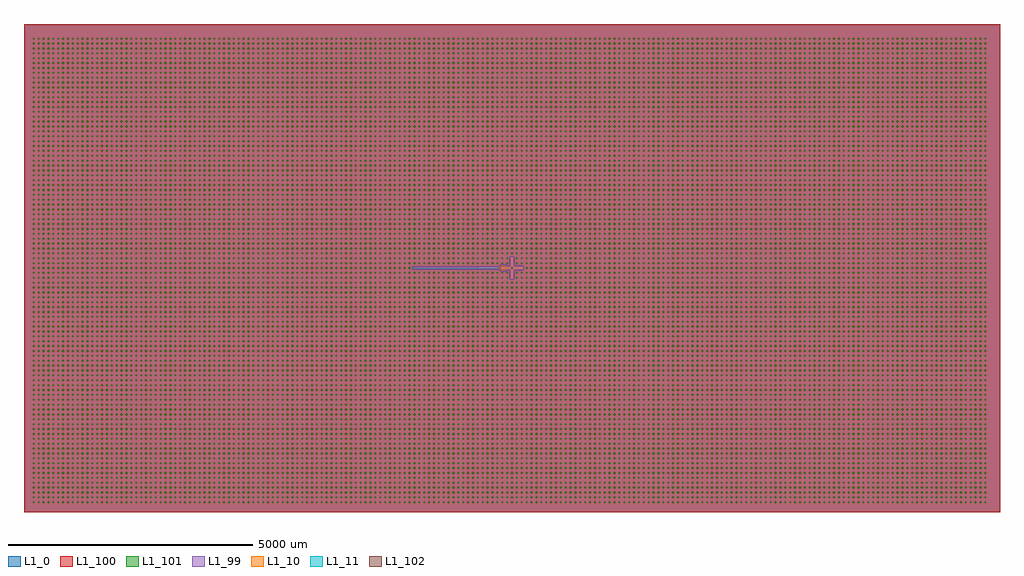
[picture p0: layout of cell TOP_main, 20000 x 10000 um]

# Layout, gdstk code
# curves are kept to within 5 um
import gdstk
lib = gdstk.Library(unit=1e-6, precision=1e-09)
def R(c, l, rs):  # rectangles x0, y0, x1, y1
    for r in rs: c.add(gdstk.rectangle(r[:2], r[2:], *l))
def A(c, l, x, y, w, h, nx, ny, dx, dy):  # array of equal rectangles
    R(c, l, [(x+i*dx, y+j*dy, x+i*dx+w, y+j*dy+h) for i in range(nx) for j in range(ny)])
def P(c, l, *ps):  # polygons
    for p in ps: c.add(gdstk.Polygon(p, *l))
L1_0 = (1, 0)
L1_10 = (1, 10)
L1_11 = (1, 11)
L1_99 = (1, 99)
L1_100 = (1, 100)
L1_101 = (1, 101)
L1_102 = (1, 102)

ground_main_1 = lib.new_cell('ground_main_1')
P(ground_main_1, L1_0, [(-131.749,-5000),(-131.749,-54.902),(-217.361,-53.042),(-237.361,-38.511),(-248,-10),(-2000,-0.151),(-2000,-13.2),(-2020,0),(-2000,13.2),(-2000,0.151),(-248,10),(-237.361,38.511),(-217.361,53.042),(-131.749,54.902),(-131.749,5000),(-10000,5000),(-10000,-5000)],
  [(-224.692,-13.911),(-222.275,-21.35),(-217.678,-27.678),(-211.35,-32.275),(-203.911,-34.692),(-131.749,-35.098),(-131.749,-30),(-196,-30),(-203.416,-28.825),(-210.107,-25.416),(-215.416,-20.107),(-218.825,-13.416),(-220,-6),(-220,6),(-218.825,13.416),(-217.384,16.896),(-212.971,22.971),(-206.896,27.384),(-199.754,29.705),(-196,30),(-131.749,30),(-131.749,35.098),(-200,35),(-203.911,34.692),(-211.35,32.275),(-217.678,27.678),(-222.275,21.35),(-223.776,17.725),(-225,10)],
  [(-30,196),(-22.971,212.971),(-9.754,219.705),(16.896,217.384),(28.825,203.416),(30,30),(199.754,29.705),(217.384,16.896),(220,-6),(212.971,-22.971),(199.754,-29.705),(30,-30),(29.705,-199.754),(22.971,-212.971),(6,-220),(-16.896,-217.384),(-29.705,-199.754),(-30,-30),(-131.749,-30),(-125,-43),(-131.749,-54.902),(-131.749,-5000),(10000,-5000),(10000,5000),(-131.749,5000),(-131.749,54.902),(-125,47),(-131.749,30),(-30,30)])

top_main_1_one_hole = lib.new_cell('TOP_main_1_one_hole')
P(top_main_1_one_hole, L1_102, [(12.5,-12.5),(12.5,12.5),(-12.5,12.5),(-12.5,-12.5),(12.5,-12.5)])

top_main_1_cheese_diff = lib.new_cell('TOP_main_1_Cheese_diff')
A(top_main_1_cheese_diff, L1_101, -9812.5, -4812.5, 25, 25, 196, 46, 100, 100)
A(top_main_1_cheese_diff, L1_101, -9812.5, -212.5, 25, 25, 98, 2, 100, 100)
A(top_main_1_cheese_diff, L1_101, 87.5, -212.5, 25, 25, 97, 2, 100, 100)
A(top_main_1_cheese_diff, L1_101, -9812.5, -12.5, 25, 25, 78, 1, 100, 0)
A(top_main_1_cheese_diff, L1_101, 287.5, -12.5, 25, 25, 95, 1, 100, 0)
A(top_main_1_cheese_diff, L1_101, -9812.5, 87.5, 25, 25, 98, 2, 100, 100)
A(top_main_1_cheese_diff, L1_101, 87.5, 87.5, 25, 25, 97, 2, 100, 100)
A(top_main_1_cheese_diff, L1_101, -9812.5, 287.5, 25, 25, 196, 45, 100, 100)

top_main_1_cheese_100 = lib.new_cell('TOP_main_1_Cheese_100')
A(top_main_1_cheese_100, L1_100, -9812.5, -5000, 25, 187.5, 195, 1, 100, 0)
A(top_main_1_cheese_100, L1_100, -9787.5, -5000, 75, 10000, 77, 1, 100, 0)
A(top_main_1_cheese_100, L1_100, 312.5, -5000, 75, 10000, 94, 1, 100, 0)
A(top_main_1_cheese_100, L1_100, -9812.5, -4787.5, 25, 75, 195, 45, 100, 100)
A(top_main_1_cheese_100, L1_100, -9812.5, -287.5, 25, 75, 98, 2, 100, 100)
A(top_main_1_cheese_100, L1_100, 87.5, -287.5, 25, 75, 96, 2, 100, 100)
A(top_main_1_cheese_100, L1_100, -9812.5, -87.5, 25, 75, 78, 2, 100, 100)
A(top_main_1_cheese_100, L1_100, 287.5, -87.5, 25, 75, 94, 2, 100, 100)
A(top_main_1_cheese_100, L1_100, -9812.5, 112.5, 25, 75, 98, 2, 100, 100)
A(top_main_1_cheese_100, L1_100, 87.5, 112.5, 25, 75, 96, 2, 100, 100)
A(top_main_1_cheese_100, L1_100, -9812.5, 312.5, 25, 75, 195, 44, 100, 100)
A(top_main_1_cheese_100, L1_100, -9812.5, 4712.5, 25, 287.5, 195, 1, 100, 0)
R(top_main_1_cheese_100, L1_100, [(-10000,-5000,-9812.5,5000), (112.5,-5000,187.5,-30), (-112.5,-87.5,-87.5,-30), (87.5,-87.5,112.5,-30), (-112.5,30,-87.5,87.5), (87.5,30,112.5,87.5), (112.5,30,187.5,5000)])
P(top_main_1_cheese_100, L1_100, [(-2012.5,-5000),(-2012.5,-4.95),(-2020,0),(-2012.5,4.95),(-2012.5,5000),(-2087.5,5000),(-2087.5,-5000)],
  [(-1987.5,-0.245),(-2000,-0.151),(-2000,-13.2),(-2012.5,-4.95),(-2012.5,-87.5),(-1987.5,-87.5)],
  [(-2000,13.2),(-2000,0.151),(-1987.5,0.245),(-1987.5,87.5),(-2012.5,87.5),(-2012.5,4.95)],
  [(-1912.5,0.811),(-1912.5,5000),(-1987.5,5000),(-1987.5,0.245)],
  [(-1912.5,-5000),(-1912.5,-0.811),(-1987.5,-0.245),(-1987.5,-5000)],
  [(-1887.5,-0.999),(-1912.5,-0.811),(-1912.5,-87.5),(-1887.5,-87.5)],
  [(-1887.5,0.999),(-1887.5,87.5),(-1912.5,87.5),(-1912.5,0.811)],
  [(-1812.5,1.565),(-1812.5,5000),(-1887.5,5000),(-1887.5,0.999)],
  [(-1812.5,-5000),(-1812.5,-1.565),(-1887.5,-0.999),(-1887.5,-5000)],
  [(-1787.5,-1.754),(-1812.5,-1.565),(-1812.5,-87.5),(-1787.5,-87.5)],
  [(-1787.5,1.754),(-1787.5,87.5),(-1812.5,87.5),(-1812.5,1.565)],
  [(-1712.5,2.319),(-1712.5,5000),(-1787.5,5000),(-1787.5,1.754)],
  [(-1712.5,-5000),(-1712.5,-2.319),(-1787.5,-1.754),(-1787.5,-5000)],
  [(-1687.5,-2.508),(-1712.5,-2.319),(-1712.5,-87.5),(-1687.5,-87.5)],
  [(-1687.5,2.508),(-1687.5,87.5),(-1712.5,87.5),(-1712.5,2.319)],
  [(-1612.5,3.074),(-1612.5,5000),(-1687.5,5000),(-1687.5,2.508)],
  [(-1612.5,-5000),(-1612.5,-3.074),(-1687.5,-2.508),(-1687.5,-5000)],
  [(-1587.5,-3.262),(-1612.5,-3.074),(-1612.5,-87.5),(-1587.5,-87.5)],
  [(-1587.5,3.262),(-1587.5,87.5),(-1612.5,87.5),(-1612.5,3.074)],
  [(-1512.5,3.828),(-1512.5,5000),(-1587.5,5000),(-1587.5,3.262)],
  [(-1512.5,-5000),(-1512.5,-3.828),(-1587.5,-3.262),(-1587.5,-5000)],
  [(-1487.5,-4.017),(-1512.5,-3.828),(-1512.5,-87.5),(-1487.5,-87.5)],
  [(-1487.5,4.017),(-1487.5,87.5),(-1512.5,87.5),(-1512.5,3.828)],
  [(-1412.5,4.582),(-1412.5,5000),(-1487.5,5000),(-1487.5,4.017)],
  [(-1412.5,-5000),(-1412.5,-4.582),(-1487.5,-4.017),(-1487.5,-5000)],
  [(-1387.5,-4.771),(-1412.5,-4.582),(-1412.5,-87.5),(-1387.5,-87.5)],
  [(-1387.5,4.771),(-1387.5,87.5),(-1412.5,87.5),(-1412.5,4.582)],
  [(-1312.5,5.337),(-1312.5,5000),(-1387.5,5000),(-1387.5,4.771)],
  [(-1312.5,-5000),(-1312.5,-5.337),(-1387.5,-4.771),(-1387.5,-5000)],
  [(-1287.5,-5.525),(-1312.5,-5.337),(-1312.5,-87.5),(-1287.5,-87.5)],
  [(-1287.5,5.525),(-1287.5,87.5),(-1312.5,87.5),(-1312.5,5.337)],
  [(-1212.5,6.091),(-1212.5,5000),(-1287.5,5000),(-1287.5,5.525)],
  [(-1212.5,-5000),(-1212.5,-6.091),(-1287.5,-5.525),(-1287.5,-5000)],
  [(-1187.5,-6.279),(-1212.5,-6.091),(-1212.5,-87.5),(-1187.5,-87.5)],
  [(-1187.5,6.279),(-1187.5,87.5),(-1212.5,87.5),(-1212.5,6.091)],
  [(-1112.5,6.845),(-1112.5,5000),(-1187.5,5000),(-1187.5,6.279)],
  [(-1112.5,-5000),(-1112.5,-6.845),(-1187.5,-6.279),(-1187.5,-5000)],
  [(-1087.5,-7.034),(-1112.5,-6.845),(-1112.5,-87.5),(-1087.5,-87.5)],
  [(-1087.5,7.034),(-1087.5,87.5),(-1112.5,87.5),(-1112.5,6.845)],
  [(-1012.5,7.599),(-1012.5,5000),(-1087.5,5000),(-1087.5,7.034)],
  [(-1012.5,-5000),(-1012.5,-7.599),(-1087.5,-7.034),(-1087.5,-5000)],
  [(-987.5,-7.788),(-1012.5,-7.599),(-1012.5,-87.5),(-987.5,-87.5)],
  [(-987.5,7.788),(-987.5,87.5),(-1012.5,87.5),(-1012.5,7.599)],
  [(-912.5,8.354),(-912.5,5000),(-987.5,5000),(-987.5,7.788)],
  [(-912.5,-5000),(-912.5,-8.354),(-987.5,-7.788),(-987.5,-5000)],
  [(-887.5,-8.542),(-912.5,-8.354),(-912.5,-87.5),(-887.5,-87.5)],
  [(-887.5,8.542),(-887.5,87.5),(-912.5,87.5),(-912.5,8.354)],
  [(-812.5,9.108),(-812.5,5000),(-887.5,5000),(-887.5,8.542)],
  [(-812.5,-5000),(-812.5,-9.108),(-887.5,-8.542),(-887.5,-5000)],
  [(-787.5,-9.297),(-812.5,-9.108),(-812.5,-87.5),(-787.5,-87.5)],
  [(-787.5,9.297),(-787.5,87.5),(-812.5,87.5),(-812.5,9.108)],
  [(-712.5,9.862),(-712.5,5000),(-787.5,5000),(-787.5,9.297)],
  [(-712.5,-5000),(-712.5,-9.862),(-787.5,-9.297),(-787.5,-5000)],
  [(-687.5,-10.051),(-712.5,-9.862),(-712.5,-87.5),(-687.5,-87.5)],
  [(-687.5,10.051),(-687.5,87.5),(-712.5,87.5),(-712.5,9.862)],
  [(-612.5,10.617),(-612.5,5000),(-687.5,5000),(-687.5,10.051)],
  [(-612.5,-5000),(-612.5,-10.617),(-687.5,-10.051),(-687.5,-5000)],
  [(-587.5,-10.805),(-612.5,-10.617),(-612.5,-87.5),(-587.5,-87.5)],
  [(-587.5,10.805),(-587.5,87.5),(-612.5,87.5),(-612.5,10.617)],
  [(-512.5,11.371),(-512.5,5000),(-587.5,5000),(-587.5,10.805)],
  [(-512.5,-5000),(-512.5,-11.371),(-587.5,-10.805),(-587.5,-5000)],
  [(-487.5,-11.559),(-512.5,-11.371),(-512.5,-87.5),(-487.5,-87.5)],
  [(-487.5,11.559),(-487.5,87.5),(-512.5,87.5),(-512.5,11.371)],
  [(-412.5,12.125),(-412.5,5000),(-487.5,5000),(-487.5,11.559)],
  [(-412.5,-5000),(-412.5,-12.125),(-487.5,-11.559),(-487.5,-5000)],
  [(-387.5,-12.314),(-412.5,-12.125),(-412.5,-87.5),(-387.5,-87.5)],
  [(-387.5,12.314),(-387.5,87.5),(-412.5,87.5),(-412.5,12.125)],
  [(-312.5,12.879),(-312.5,5000),(-387.5,5000),(-387.5,12.314)],
  [(-312.5,-5000),(-312.5,-12.879),(-387.5,-12.314),(-387.5,-5000)],
  [(-287.5,-13.068),(-312.5,-12.879),(-312.5,-87.5),(-287.5,-87.5)],
  [(-287.5,13.068),(-287.5,87.5),(-312.5,87.5),(-312.5,12.879)],
  [(-270,13.2),(-246.237,10.573),(-240.64,33.16),(-223.776,50.262),(-223.776,5000),(-287.5,5000),(-287.5,13.068)],
  [(-224.692,-13.911),(-223.776,-17.725),(-223.776,17.725),(-224.692,13.911),(-225,10),(-225,-10)],
  [(-223.776,-5000),(-223.776,-50.262),(-240.64,-33.16),(-245.879,-10.879),(-270,-10),(-287.5,-13.068),(-287.5,-5000)],
  [(-223.16,50.64),(-217.361,53.042),(-212.5,54.209),(-212.5,5000),(-223.776,5000),(-223.776,50.262)],
  [(-220,6),(-219.705,9.754),(-217.384,16.896),(-212.5,23.372),(-212.5,31.57),(-217.678,27.678),(-220.225,24.695),(-223.776,17.725),(-223.776,-6),(-220,-6)],
  [(-212.5,-23.372),(-217.384,-16.896),(-219.705,-9.754),(-220,-6),(-223.776,-6),(-223.776,-17.725),(-220.225,-24.695),(-217.678,-27.678),(-212.5,-31.57)],
  [(-212.5,-54.209),(-217.361,-53.042),(-223.16,-50.64),(-223.776,-50.262),(-223.776,-5000),(-212.5,-5000)],
  [(-206.896,27.384),(-199.754,29.705),(-187.5,30),(-187.5,35),(-200,35),(-207.725,33.776),(-212.5,31.57),(-212.5,23.372)],
  [(-187.5,-30),(-196,-30),(-203.416,-28.825),(-206.896,-27.384),(-212.5,-23.372),(-212.5,-31.57),(-207.725,-33.776),(-200,-35),(-187.5,-35)],
  [(-187.5,-55),(-205,-55),(-211.257,-54.508),(-212.5,-54.209),(-212.5,-87.5),(-187.5,-87.5)],
  [(-211.257,54.508),(-205,55),(-187.5,55),(-187.5,87.5),(-212.5,87.5),(-212.5,54.209)],
  [(-133,55),(-125.098,48.251),(-130.528,35.392),(-187.5,35),(-112.5,30),(-112.5,5000),(-187.5,5000),(-187.5,55)],
  [(-112.5,-5000),(-112.5,-30),(-187.5,-30),(-131.749,-35.098),(-125,-43),(-131.749,-54.902),(-187.5,-55),(-187.5,-5000)],
  [(-30,30),(-29.705,199.754),(-12.5,219.045),(-12.5,5000),(-87.5,5000),(-87.5,30)],
  [(-12.5,-5000),(-12.5,-219.045),(-29.705,-199.754),(-30,-30),(-87.5,-30),(-87.5,-5000)],
  [(12.5,-219.045),(9.754,-219.705),(6,-220),(-6,-220),(-9.754,-219.705),(-12.5,-219.045),(-12.5,-287.5),(12.5,-287.5)],
  [(-9.754,219.705),(-6,220),(6,220),(9.754,219.705),(12.5,219.045),(12.5,287.5),(-12.5,287.5),(-12.5,219.045)],
  [(13.416,218.825),(29.705,199.754),(30,30),(87.5,30),(87.5,5000),(12.5,5000)],
  [(29.705,-199.754),(12.5,-219.045),(12.5,-5000),(87.5,-5000),(87.5,-30),(30,-30)],
  [(212.5,-23.372),(210.107,-25.416),(206.896,-27.384),(203.416,-28.825),(199.754,-29.705),(196,-30),(187.5,-30),(187.5,-87.5),(212.5,-87.5)],
  [(196,30),(199.754,29.705),(203.416,28.825),(206.896,27.384),(210.107,25.416),(212.5,23.372),(212.5,87.5),(187.5,87.5),(187.5,30)],
  [(212.971,22.971),(212.971,5000),(212.5,5000),(212.5,23.372)],
  [(212.971,-5000),(212.971,-22.971),(212.5,-23.372),(212.5,-5000)],
  [(287.5,5000),(212.971,5000),(212.971,22.971),(220,6),(212.971,-22.971),(212.971,-5000),(287.5,-5000)],
  [(10000,-12.5),(9687.5,-12.5),(9687.5,-87.5),(9712.5,-87.5),(9712.5,-112.5),(9687.5,-112.5),(9687.5,-187.5),(9712.5,-187.5),(9712.5,-212.5),(9687.5,-212.5),(9687.5,-287.5),(9712.5,-287.5),(9712.5,-312.5),(9687.5,-312.5),(9687.5,-387.5),(9712.5,-387.5),(9712.5,-412.5),(9687.5,-412.5),(9687.5,-487.5),(9712.5,-487.5),(9712.5,-512.5),(9687.5,-512.5),(9687.5,-587.5),(9712.5,-587.5),(9712.5,-612.5),(9687.5,-612.5),(9687.5,-687.5),(9712.5,-687.5),(9712.5,-712.5),(9687.5,-712.5),(9687.5,-787.5),(9712.5,-787.5),(9712.5,-812.5),(9687.5,-812.5),(9687.5,-887.5),(9712.5,-887.5),(9712.5,-912.5),(9687.5,-912.5),(9687.5,-987.5),(9712.5,-987.5),(9712.5,-1012.5),(9687.5,-1012.5),(9687.5,-1087.5),(9712.5,-1087.5),(9712.5,-1112.5),(9687.5,-1112.5),(9687.5,-1187.5),(9712.5,-1187.5),(9712.5,-1212.5),(9687.5,-1212.5),(9687.5,-1287.5),(9712.5,-1287.5),(9712.5,-1312.5),(9687.5,-1312.5),(9687.5,-1387.5),(9712.5,-1387.5),(9712.5,-1412.5),(9687.5,-1412.5),(9687.5,-1487.5),(9712.5,-1487.5),(9712.5,-1512.5),(9687.5,-1512.5),(9687.5,-1587.5),(9712.5,-1587.5),(9712.5,-1612.5),(9687.5,-1612.5),(9687.5,-1687.5),(9712.5,-1687.5),(9712.5,-1712.5),(9687.5,-1712.5),(9687.5,-1787.5),(9712.5,-1787.5),(9712.5,-1812.5),(9687.5,-1812.5),(9687.5,-1887.5),(9712.5,-1887.5),(9712.5,-1912.5),(9687.5,-1912.5),(9687.5,-1987.5),(9712.5,-1987.5),(9712.5,-2012.5),(9687.5,-2012.5),(9687.5,-2087.5),(9712.5,-2087.5),(9712.5,-2112.5),(9687.5,-2112.5),(9687.5,-2187.5),(9712.5,-2187.5),(9712.5,-2212.5),(9687.5,-2212.5),(9687.5,-2287.5),(9712.5,-2287.5),(9712.5,-2312.5),(9687.5,-2312.5),(9687.5,-2387.5),(9712.5,-2387.5),(9712.5,-2412.5),(9687.5,-2412.5),(9687.5,-2487.5),(9712.5,-2487.5),(9712.5,-2512.5),(9687.5,-2512.5),(9687.5,-2587.5),(9712.5,-2587.5),(9712.5,-2612.5),(9687.5,-2612.5),(9687.5,-2687.5),(9712.5,-2687.5),(9712.5,-2712.5),(9687.5,-2712.5),(9687.5,-2787.5),(9712.5,-2787.5),(9712.5,-2812.5),(9687.5,-2812.5),(9687.5,-2887.5),(9712.5,-2887.5),(9712.5,-2912.5),(9687.5,-2912.5),(9687.5,-2987.5),(9712.5,-2987.5),(9712.5,-3012.5),(9687.5,-3012.5),(9687.5,-3087.5),(9712.5,-3087.5),(9712.5,-3112.5),(9687.5,-3112.5),(9687.5,-3187.5),(9712.5,-3187.5),(9712.5,-3212.5),(9687.5,-3212.5),(9687.5,-3287.5),(9712.5,-3287.5),(9712.5,-3312.5),(9687.5,-3312.5),(9687.5,-3387.5),(9712.5,-3387.5),(9712.5,-3412.5),(9687.5,-3412.5),(9687.5,-3487.5),(9712.5,-3487.5),(9712.5,-3512.5),(9687.5,-3512.5),(9687.5,-3587.5),(9712.5,-3587.5),(9712.5,-3612.5),(9687.5,-3612.5),(9687.5,-3687.5),(9712.5,-3687.5),(9712.5,-3712.5),(9687.5,-3712.5),(9687.5,-3787.5),(9712.5,-3787.5),(9712.5,-3812.5),(9687.5,-3812.5),(9687.5,-3887.5),(9712.5,-3887.5),(9712.5,-3912.5),(9687.5,-3912.5),(9687.5,-3987.5),(9712.5,-3987.5),(9712.5,-4012.5),(9687.5,-4012.5),(9687.5,-4087.5),(9712.5,-4087.5),(9712.5,-4112.5),(9687.5,-4112.5),(9687.5,-4187.5),(9712.5,-4187.5),(9712.5,-4212.5),(9687.5,-4212.5),(9687.5,-4287.5),(9712.5,-4287.5),(9712.5,-4312.5),(9687.5,-4312.5),(9687.5,-4387.5),(9712.5,-4387.5),(9712.5,-4412.5),(9687.5,-4412.5),(9687.5,-4487.5),(9712.5,-4487.5),(9712.5,-4512.5),(9687.5,-4512.5),(9687.5,-4587.5),(9712.5,-4587.5),(9712.5,-4612.5),(9687.5,-4612.5),(9687.5,-4687.5),(9712.5,-4687.5),(9712.5,-4712.5),(9687.5,-4712.5),(9687.5,-4787.5),(9712.5,-4787.5),(9712.5,-4812.5),(9687.5,-4812.5),(9687.5,-5000),(10000,-5000)],
  [(10000,5000),(9687.5,5000),(9687.5,4712.5),(9712.5,4712.5),(9712.5,4687.5),(9687.5,4687.5),(9687.5,4612.5),(9712.5,4612.5),(9712.5,4587.5),(9687.5,4587.5),(9687.5,4512.5),(9712.5,4512.5),(9712.5,4487.5),(9687.5,4487.5),(9687.5,4412.5),(9712.5,4412.5),(9712.5,4387.5),(9687.5,4387.5),(9687.5,4312.5),(9712.5,4312.5),(9712.5,4287.5),(9687.5,4287.5),(9687.5,4212.5),(9712.5,4212.5),(9712.5,4187.5),(9687.5,4187.5),(9687.5,4112.5),(9712.5,4112.5),(9712.5,4087.5),(9687.5,4087.5),(9687.5,4012.5),(9712.5,4012.5),(9712.5,3987.5),(9687.5,3987.5),(9687.5,3912.5),(9712.5,3912.5),(9712.5,3887.5),(9687.5,3887.5),(9687.5,3812.5),(9712.5,3812.5),(9712.5,3787.5),(9687.5,3787.5),(9687.5,3712.5),(9712.5,3712.5),(9712.5,3687.5),(9687.5,3687.5),(9687.5,3612.5),(9712.5,3612.5),(9712.5,3587.5),(9687.5,3587.5),(9687.5,3512.5),(9712.5,3512.5),(9712.5,3487.5),(9687.5,3487.5),(9687.5,3412.5),(9712.5,3412.5),(9712.5,3387.5),(9687.5,3387.5),(9687.5,3312.5),(9712.5,3312.5),(9712.5,3287.5),(9687.5,3287.5),(9687.5,3212.5),(9712.5,3212.5),(9712.5,3187.5),(9687.5,3187.5),(9687.5,3112.5),(9712.5,3112.5),(9712.5,3087.5),(9687.5,3087.5),(9687.5,3012.5),(9712.5,3012.5),(9712.5,2987.5),(9687.5,2987.5),(9687.5,2912.5),(9712.5,2912.5),(9712.5,2887.5),(9687.5,2887.5),(9687.5,2812.5),(9712.5,2812.5),(9712.5,2787.5),(9687.5,2787.5),(9687.5,2712.5),(9712.5,2712.5),(9712.5,2687.5),(9687.5,2687.5),(9687.5,2612.5),(9712.5,2612.5),(9712.5,2587.5),(9687.5,2587.5),(9687.5,2512.5),(9712.5,2512.5),(9712.5,2487.5),(9687.5,2487.5),(9687.5,2412.5),(9712.5,2412.5),(9712.5,2387.5),(9687.5,2387.5),(9687.5,2312.5),(9712.5,2312.5),(9712.5,2287.5),(9687.5,2287.5),(9687.5,2212.5),(9712.5,2212.5),(9712.5,2187.5),(9687.5,2187.5),(9687.5,2112.5),(9712.5,2112.5),(9712.5,2087.5),(9687.5,2087.5),(9687.5,2012.5),(9712.5,2012.5),(9712.5,1987.5),(9687.5,1987.5),(9687.5,1912.5),(9712.5,1912.5),(9712.5,1887.5),(9687.5,1887.5),(9687.5,1812.5),(9712.5,1812.5),(9712.5,1787.5),(9687.5,1787.5),(9687.5,1712.5),(9712.5,1712.5),(9712.5,1687.5),(9687.5,1687.5),(9687.5,1612.5),(9712.5,1612.5),(9712.5,1587.5),(9687.5,1587.5),(9687.5,1512.5),(9712.5,1512.5),(9712.5,1487.5),(9687.5,1487.5),(9687.5,1412.5),(9712.5,1412.5),(9712.5,1387.5),(9687.5,1387.5),(9687.5,1312.5),(9712.5,1312.5),(9712.5,1287.5),(9687.5,1287.5),(9687.5,1212.5),(9712.5,1212.5),(9712.5,1187.5),(9687.5,1187.5),(9687.5,1112.5),(9712.5,1112.5),(9712.5,1087.5),(9687.5,1087.5),(9687.5,1012.5),(9712.5,1012.5),(9712.5,987.5),(9687.5,987.5),(9687.5,912.5),(9712.5,912.5),(9712.5,887.5),(9687.5,887.5),(9687.5,812.5),(9712.5,812.5),(9712.5,787.5),(9687.5,787.5),(9687.5,712.5),(9712.5,712.5),(9712.5,687.5),(9687.5,687.5),(9687.5,612.5),(9712.5,612.5),(9712.5,587.5),(9687.5,587.5),(9687.5,512.5),(9712.5,512.5),(9712.5,487.5),(9687.5,487.5),(9687.5,412.5),(9712.5,412.5),(9712.5,387.5),(9687.5,387.5),(9687.5,312.5),(9712.5,312.5),(9712.5,287.5),(9687.5,287.5),(9687.5,212.5),(9712.5,212.5),(9712.5,187.5),(9687.5,187.5),(9687.5,112.5),(9712.5,112.5),(9712.5,87.5),(9687.5,87.5),(9687.5,12.5),(9712.5,12.5),(9712.5,-12.5),(10000,-12.5)])

top_main_1 = lib.new_cell('TOP_main_1')
P(top_main_1, L1_10, [(-200,-6),(-196,-10),(196,-10),(199.804,-7.236),(200,6),(196,10),(-196,10),(-199.804,7.236)],
  [(10,196),(6,200),(-6.626,199.951),(-9.951,196.626),(-10,14),(-14,10),(14,10),(10,14)],
  [(-10,-196),(-6,-200),(6.626,-199.951),(9.951,-196.626),(10,-14),(14,-10),(-14,-10),(-10,-14)],
  [(-240.037,-7.531),(-243,-5),(-280,-5),(-280,5),(-241.237,5.573),(-235.64,28.16),(-228.284,38.284),(-218.16,45.64),(-206.257,49.508),(-200,50),(-133,50),(-130.327,48.362),(-130.147,42.073),(-132.531,40.037),(-200,40),(-209.271,38.532),(-217.634,34.271),(-224.271,27.634),(-228.532,19.271),(-230,10),(-230,-10),(-228.532,-19.271),(-224.271,-27.634),(-213.62,-36.73),(-200,-40),(-132.531,-40.037),(-130.037,-42.531),(-130.037,-47.469),(-131.638,-49.673),(-200,-50),(-212.361,-48.042),(-223.511,-42.361),(-232.361,-33.511),(-238.042,-22.361)])
P(top_main_1, L1_11, [(-2000,-6.2),(-2000,6.2),(-2020,0),(-270,-6.2),(-270,6.2),(-2020,0)])
top_main_1.add(gdstk.Reference(ground_main_1, (0,0)))
top_main_1.add(gdstk.Reference(top_main_1_one_hole, (0,0)))
top_main_1.add(gdstk.Reference(top_main_1_cheese_diff, (0,0)))
top_main_1.add(gdstk.Reference(top_main_1_cheese_100, (0,0)))

top_main_1_nocheese_99 = lib.new_cell('TOP_main_1_NoCheese_99')
P(top_main_1_nocheese_99, L1_99, [(-265.612,-38.2),(-2045,-38.2),(-2045,38.2),(-265.612,38.2),(-243.251,67.649),(-205.982,80),(-127.826,79.67),(-109.611,70.389),(-101.008,55),(-55,55),(-52.675,211.166),(-28.281,239.728),(6.982,245),(34.847,235.704),(52.675,211.166),(55,55),(218.281,49.728),(235.704,34.847),(244.473,13.677),(242.675,-21.166),(230.703,-40.703),(203.677,-54.473),(55,-55),(52.675,-211.166),(28.281,-239.728),(-6.982,-245),(-34.847,-235.704),(-52.675,-211.166),(-55,-55),(-101.008,-55),(-109.611,-70.389),(-127.826,-79.67),(-215.18,-79.276),(-243.251,-67.649)])

top_main = lib.new_cell('TOP_main')
top_main.add(gdstk.Reference(top_main_1, (0,0)))
top_main.add(gdstk.Reference(top_main_1_nocheese_99, (0,0)))

lib.write_gds('TOP_main.gds')
